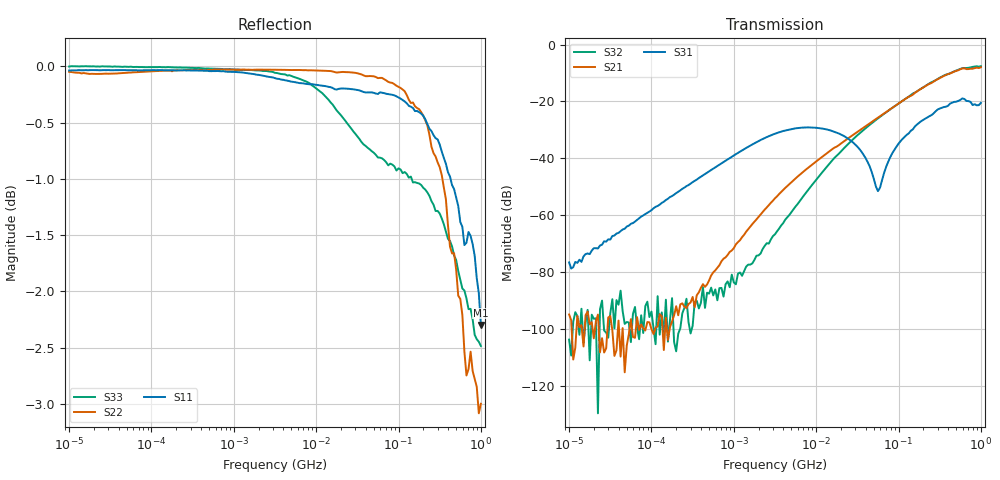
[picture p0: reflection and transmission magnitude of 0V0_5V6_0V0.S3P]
!Keysight Technologies,E5080A,MY55100144,A.11.70.03
!Date: Monday, November 13, 2017 17:25:40
!Correction: S11(Full 3 Port(1,2,3))
!S12(Full 3 Port(1,2,3))
!S13(Full 3 Port(1,2,3))
!S21(Full 3 Port(1,2,3))
!S22(Full 3 Port(1,2,3))
!S23(Full 3 Port(1,2,3))
!S31(Full 3 Port(1,2,3))
!S32(Full 3 Port(1,2,3))
!S33(Full 3 Port(1,2,3))
!S3P File: Measurements: <S11,S12,S13>,
!<S21,S22,S23>,
!<S31,S32,S33>:Log Frequency Sweep
# Hz S  RI  R 50
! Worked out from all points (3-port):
!   201 points, 10 kHz to 1 GHz, reference 50 ohm
!   strongest paths, dB at 10 kHz, 177.8 kHz, 3.162 MHz, 56.23 MHz, 1 GHz:
!     S31: -76.6, -53.3, -31.4, -51.6, -20.5
!     S21: -95.0, -97.4, -54.1, -25.7, -8.0
!     S32: -103.8, -89.2, -66.7, -26.0, -7.6
!   lowest |S11| = -2.3 dB at 1 GHz (marker M1), VSWR 7.60, Z = 380 + j0.727 ohm
!   |S11| at or under -10 dB: nowhere
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10000  0.9956 -0.00551  9.18e-06 5.41e-06  -2.06e-05 0.00014
       1.58e-05 8.27e-06  0.4707 -0.8759  -1.18e-05 -7.74e-07
       1.07e-05 0.000147  4.06e-06 5.03e-06  0.9997 -0.00238
50118.72  0.9956 -0.0276  -1.93e-06 7.47e-06  2.05e-05 0.000613
          4.21e-06 -2.88e-06  -0.7915 -0.6001  -2.14e-06 6.51e-06
          1.59e-05 0.000629  2.38e-06 -1.3e-05  0.9994 -0.00578
562341.3  0.9488 -0.3001  -7.25e-05 6.37e-05  0.00143 0.00639
          -7.94e-05 5.79e-05  -0.9948 -0.0576  -2.86e-05 4.35e-05
          0.00143 0.00641  -2.27e-05 3.13e-05  0.996 -0.0541
3162278  0.1359 -0.9785  -0.00132 0.00146  0.0207 0.0174
         -0.00132 0.00147  -0.9963 0.00467  -0.000404 0.00023
         0.0209 0.0172  -0.000398 0.000233  0.9502 -0.2895
2.113489e7  -0.9408 -0.2652  -0.00121 0.0191  0.0202 -0.0149
            -0.00121 0.0192  -0.9894 0.0981  -0.00855 0.0115
            0.0202 -0.015  -0.00856 0.0115  -0.018 -0.9486
5.623413e7  -0.9706 0.0527  0.00886 0.051  0.00264 0.000212
            0.00884 0.0511  -0.9534 0.2589  -0.00533 0.0499
            0.00264 0.000217  -0.00534 0.05  -0.7609 -0.5008
1.059254e8  -0.9334 0.2546  0.0375 0.0895  0.00776 0.0185
            0.0376 0.0895  -0.8608 0.4644  0.0231 0.0946
            0.00782 0.0185  0.023 0.0945  -0.8952 -0.0911
3.758374e8  -0.3694 0.8264  0.2899 0.0335  0.0806 -0.00596
            0.2901 0.0333  0.0972 0.8676  0.2901 0.0577
            0.0806 -0.00596  0.2899 0.0576  -0.4866 0.6904
7.079458e8  0.4635 0.7055  0.1989 -0.3127  0.0115 -0.1009
            0.199 -0.313  0.698 0.2263  0.2457 -0.3022
            0.0115 -0.1007  0.2461 -0.302  0.2564 0.7368
1e9  0.7675 0.000393  -0.0998 -0.3854  -0.0569 -0.0754
     -0.1003 -0.3854  0.5909 -0.3904  -0.046 -0.4145
     -0.0569 -0.0752  -0.0457 -0.4145  0.6831 0.3127
